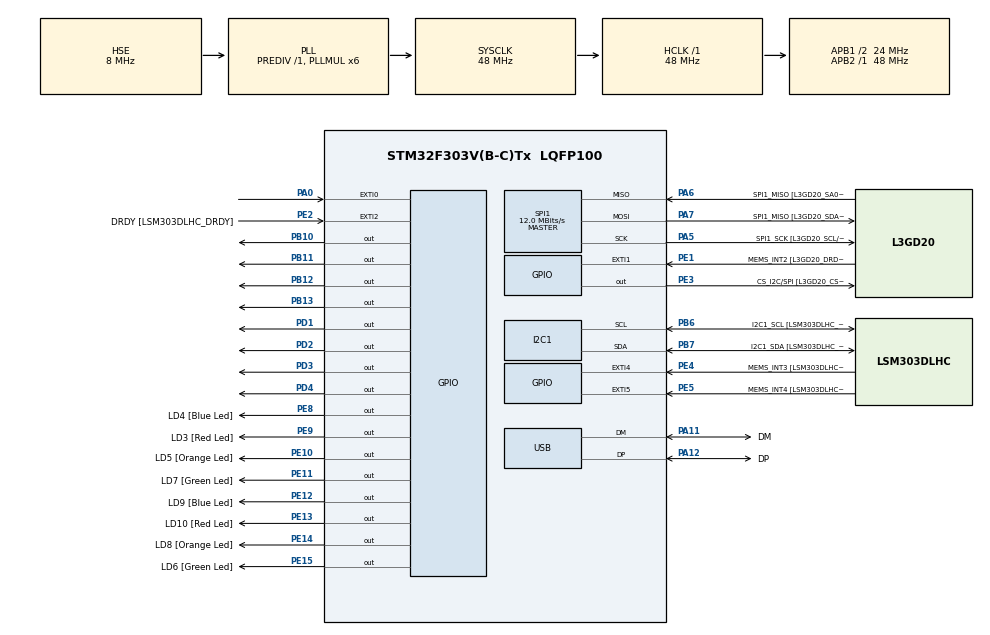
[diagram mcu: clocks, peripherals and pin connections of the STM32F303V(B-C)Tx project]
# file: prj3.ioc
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I2C1.Timing=0x2000090E
I2C1.Timing-I2C=0x2000090E
Mcu.Family=STM32F3
Mcu.Name=STM32F303V(B-C)Tx
Mcu.Package=LQFP100
NVIC.EXTI0_IRQn=true\:0\:0\:false\:false\:true\:true\:true\:true
NVIC.PriorityGroup=NVIC_PRIORITYGROUP_0
PA0.GPIO_ModeDefaultEXTI=GPIO_MODE_IT_RISING_FALLING
PA0.Signal=GPXTI0
PA11.GPIO_Label=DM
PA11.Mode=Device
PA11.Signal=USB_DM
PA12.GPIO_Label=DP
PA12.Mode=Device
PA12.Signal=USB_DP
PA13.GPIO_Label=SWDIO
PA13.Mode=Serial_Wire
PA13.Signal=SYS_JTMS-SWDIO
PA14.GPIO_Label=SWCLK
PA14.Mode=Serial_Wire
PA14.Signal=SYS_JTCK-SWCLK
PA5.GPIO_Label=SPI1_SCK [L3GD20_SCL/SPC]
PA5.Mode=Full_Duplex_Master
PA5.Signal=SPI1_SCK
PA6.GPIO_Label=SPI1_MISO [L3GD20_SA0/SDO]
PA6.Mode=Full_Duplex_Master
PA6.Signal=SPI1_MISO
PA7.GPIO_Label=SPI1_MISO [L3GD20_SDA/SDI/SDO]
PA7.Mode=Full_Duplex_Master
PA7.Signal=SPI1_MOSI
PB10.Signal=GPIO_Output
PB11.Signal=GPIO_Output
PB12.Signal=GPIO_Output
PB13.Signal=GPIO_Output
PB3.GPIO_Label=SWO
PB3.Signal=SYS_JTDO-TRACESWO
PB6.GPIO_Label=I2C1_SCL [LSM303DLHC_SCL]
PB6.GPIO_Pu=GPIO_PULLUP
PB6.Mode=I2C
PB6.Signal=I2C1_SCL
PB7.GPIO_Label=I2C1_SDA [LSM303DLHC_SDA]
PB7.GPIO_Pu=GPIO_PULLUP
PB7.Mode=I2C
PB7.Signal=I2C1_SDA
PC14-OSC32_IN.GPIO_Label=OSC32_IN
PC14-OSC32_IN.Signal=RCC_OSC32_IN
PC15-OSC32_OUT.GPIO_Label=OSC32_OUT
PC15-OSC32_OUT.Signal=RCC_OSC32_OUT
PD1.Signal=GPIO_Output
PD2.Signal=GPIO_Output
PD3.Signal=GPIO_Output
PD4.Signal=GPIO_Output
PE1.GPIO_Label=MEMS_INT2 [L3GD20_DRDY/INT2]
PE1.GPIO_ModeDefaultEXTI=GPIO_MODE_EVT_RISING
PE1.Signal=GPXTI1
PE10.GPIO_Label=LD5 [Orange Led]
PE10.Signal=GPIO_Output
PE11.GPIO_Label=LD7 [Green Led]
PE11.Signal=GPIO_Output
PE12.GPIO_Label=LD9 [Blue Led]
PE12.Signal=GPIO_Output
PE13.GPIO_Label=LD10 [Red Led]
PE13.Signal=GPIO_Output
PE14.GPIO_Label=LD8 [Orange Led]
PE14.Signal=GPIO_Output
PE15.GPIO_Label=LD6 [Green Led]
PE15.Signal=GPIO_Output
PE2.GPIO_Label=DRDY [LSM303DLHC_DRDY]
PE2.GPIO_ModeDefaultEXTI=GPIO_MODE_EVT_RISING
PE2.Signal=GPXTI2
PE3.GPIO_Label=CS_I2C/SPI [L3GD20_CS_I2C/SPI]
PE3.Signal=GPIO_Output
PE4.GPIO_Label=MEMS_INT3 [LSM303DLHC_INT1]
PE4.GPIO_ModeDefaultEXTI=GPIO_MODE_EVT_RISING
PE4.Signal=GPXTI4
PE5.GPIO_Label=MEMS_INT4 [LSM303DLHC_INT2]
PE5.GPIO_ModeDefaultEXTI=GPIO_MODE_EVT_RISING
PE5.Signal=GPXTI5
PE8.GPIO_Label=LD4 [Blue Led]
PE8.Signal=GPIO_Output
PE9.GPIO_Label=LD3 [Red Led]
PE9.Signal=GPIO_Output
PF0-OSC_IN.GPIO_Label=OSC_IN
PF0-OSC_IN.Mode=HSE-External-Clock-Source
PF0-OSC_IN.Signal=RCC_OSC_IN
PF1-OSC_OUT.GPIO_Label=OSC_OUT
PF1-OSC_OUT.Signal=RCC_OSC_OUT
ProjectManager.HeapSize=0x200
ProjectManager.StackSize=0x400
ProjectManager.TargetToolchain=STM32CubeIDE
RCC.AHBFreq_Value=48000000
RCC.APB1CLKDivider=RCC_HCLK_DIV2
RCC.APB1Freq_Value=24000000
RCC.APB1TimFreq_Value=48000000
RCC.APB2Freq_Value=48000000
RCC.APB2TimFreq_Value=48000000
RCC.CortexFreq_Value=48000000
RCC.HCLKFreq_Value=48000000
RCC.HSE_VALUE=8000000
RCC.HSI_VALUE=8000000
RCC.LSE_VALUE=32768
RCC.PLLMUL=RCC_PLL_MUL6
RCC.SYSCLKFreq_VALUE=48000000
RCC.SYSCLKSourceVirtual=RCC_SYSCLKSOURCE_PLLCLK
RCC.USBFreq_Value=48000000
SPI1.BaudRatePrescaler=SPI_BAUDRATEPRESCALER_4
SPI1.BaudRatePrescaler-Full_Duplex_Master=SPI_BAUDRATEPRESCALER_2
SPI1.CalculateBaudRate=12.0 MBits/s
SPI1.CalculateBaudRate-Full_Duplex_Master=24.0 MBits/s
SPI1.Direction=SPI_DIRECTION_2LINES
SPI1.Mode=SPI_MODE_MASTER
SPI1.Mode-Full_Duplex_Master=SPI_MODE_MASTER
SPI1.VirtualType=VM_MASTER
board=STM32F3DISCOVERY

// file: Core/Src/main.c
/* USER CODE BEGIN Header */
/**
  ******************************************************************************
  * @file           : main.c
  * @brief          : Main program body
  ******************************************************************************
  * @attention
  *
  * Copyright (c) 2024 STMicroelectronics.
  * All rights reserved.
  *
  * This software is licensed under terms that can be found in the LICENSE file
  * in the root directory of this software component.
  * If no LICENSE file comes with this software, it is provided AS-IS.
  *
  ******************************************************************************
  */
/* USER CODE END Header */
#include "main.h"

/* USER CODE BEGIN PD */
#define n 6
#define DEBOUNCE_TIME 100
#define LONG_PRESS 3000
/* USER CODE END PD */

I2C_HandleTypeDef hi2c1;

SPI_HandleTypeDef hspi1;

PCD_HandleTypeDef hpcd_USB_FS;

void SystemClock_Config(void);
static void MX_GPIO_Init(void);
static void MX_I2C1_Init(void);
static void MX_SPI1_Init(void);
static void MX_USB_PCD_Init(void);

/* USER CODE BEGIN 0 */

char number[n];
char digit[4];
char str[n+7];
int temp;
int temp_token;
int timer_token;
int limit_token = 200;
int shift_level = 1;
int pause = 0;

void HAL_GPIO_EXTI_Callback(uint16_t GPIO_Pin){
	if(GPIO_Pin == GPIO_PIN_0){ // pin 0 triggered
		static uint32_t last_enter_time = 0;
		if (HAL_GPIO_ReadPin(GPIOA, GPIO_PIN_0)){ // rising edge
			if (HAL_GetTick() - last_enter_time < DEBOUNCE_TIME){
				return;
			}
			else{
				last_enter_time = HAL_GetTick();
			}
		}
		else{ // falling edge
			if (HAL_GetTick() - last_enter_time < DEBOUNCE_TIME){// debounce
				return;
			}
			if (HAL_GetTick() - last_enter_time > LONG_PRESS){//long press
				last_enter_time = HAL_GetTick();
				pause = 1 - pause;
			}
			else { //short press
				last_enter_time = HAL_GetTick();
				shift_level++;
				if (shift_level > 5){
					shift_level = 1;
				}
			}
		}

	}
}

void active_digits (){
	if (temp == 0){
		if (digit[0] != 'x'){
			HAL_GPIO_WritePin(GPIOD, GPIO_PIN_1, GPIO_PIN_RESET);
			HAL_GPIO_WritePin(GPIOD, GPIO_PIN_2, GPIO_PIN_SET);
			HAL_GPIO_WritePin(GPIOD, GPIO_PIN_3, GPIO_PIN_SET);
			HAL_GPIO_WritePin(GPIOD, GPIO_PIN_4, GPIO_PIN_SET);
		}
		else{
			HAL_GPIO_WritePin(GPIOD, GPIO_PIN_1, GPIO_PIN_SET);
			HAL_GPIO_WritePin(GPIOD, GPIO_PIN_2, GPIO_PIN_SET);
			HAL_GPIO_WritePin(GPIOD, GPIO_PIN_3, GPIO_PIN_SET);
			HAL_GPIO_WritePin(GPIOD, GPIO_PIN_4, GPIO_PIN_SET);
		}
		shownumber(digit[0]);
		temp = 1;
	}else if (temp == 1){
		if (digit[1] != 'x'){
			HAL_GPIO_WritePin(GPIOD, GPIO_PIN_1, GPIO_PIN_SET);
			HAL_GPIO_WritePin(GPIOD, GPIO_PIN_2, GPIO_PIN_RESET);
			HAL_GPIO_WritePin(GPIOD, GPIO_PIN_3, GPIO_PIN_SET);
			HAL_GPIO_WritePin(GPIOD, GPIO_PIN_4, GPIO_PIN_SET);
		}
		else{
			HAL_GPIO_WritePin(GPIOD, GPIO_PIN_1, GPIO_PIN_SET);
			HAL_GPIO_WritePin(GPIOD, GPIO_PIN_2, GPIO_PIN_SET);
			HAL_GPIO_WritePin(GPIOD, GPIO_PIN_3, GPIO_PIN_SET);
			HAL_GPIO_WritePin(GPIOD, GPIO_PIN_4, GPIO_PIN_SET);
		}
		shownumber(digit[1]);
		temp=2;
	}else if (temp == 2){
		if (digit[2] != 'x'){
			HAL_GPIO_WritePin(GPIOD, GPIO_PIN_1, GPIO_PIN_SET);
			HAL_GPIO_WritePin(GPIOD, GPIO_PIN_2, GPIO_PIN_SET);
			HAL_GPIO_WritePin(GPIOD, GPIO_PIN_3, GPIO_PIN_RESET);
			HAL_GPIO_WritePin(GPIOD, GPIO_PIN_4, GPIO_PIN_SET);
		}
		else{
			HAL_GPIO_WritePin(GPIOD, GPIO_PIN_1, GPIO_PIN_SET);
			HAL_GPIO_WritePin(GPIOD, GPIO_PIN_2, GPIO_PIN_SET);
			HAL_GPIO_WritePin(GPIOD, GPIO_PIN_3, GPIO_PIN_SET);
			HAL_GPIO_WritePin(GPIOD, GPIO_PIN_4, GPIO_PIN_SET);
		}
		shownumber(digit[2]);
		temp=3;
	}else {
		if (digit[3]!='x'){
			HAL_GPIO_WritePin(GPIOD, GPIO_PIN_1, GPIO_PIN_SET);
			HAL_GPIO_WritePin(GPIOD, GPIO_PIN_2, GPIO_PIN_SET);
			HAL_GPIO_WritePin(GPIOD, GPIO_PIN_3, GPIO_PIN_SET);
			HAL_GPIO_WritePin(GPIOD, GPIO_PIN_4, GPIO_PIN_RESET);
		}
		else{
			HAL_GPIO_WritePin(GPIOD, GPIO_PIN_1, GPIO_PIN_SET);
			HAL_GPIO_WritePin(GPIOD, GPIO_PIN_2, GPIO_PIN_SET);
			HAL_GPIO_WritePin(GPIOD, GPIO_PIN_3, GPIO_PIN_SET);
			HAL_GPIO_WritePin(GPIOD, GPIO_PIN_4, GPIO_PIN_SET);
		}
		shownumber(digit[3]);
		temp = 0;
	}
	HAL_Delay(5);
}
void shownumber (char ch){
	//B10 - 8 D
	//B11 - 4 C
	//B12 - 2 B
	//B13 - 1 A
	if (ch == 'x'){
		return;
	}
	else{
		int t = (ch - '0');
		HAL_GPIO_WritePin(GPIOB, GPIO_PIN_13, t%2);//1
		t/=2;
		HAL_GPIO_WritePin(GPIOB, GPIO_PIN_12, t%2);//2
		t/=2;
		HAL_GPIO_WritePin(GPIOB, GPIO_PIN_11, t%2);//4
		t/=2;
		HAL_GPIO_WritePin(GPIOB, GPIO_PIN_10, t%2);//8
	}

}
void number_to_string(){
	str[0] = 'x';
	str[1] = 'x';
	str[2] = 'x';
	for (int i=0;i<n;i++){
		str[i+3] = number[i];
	}
	str[n+3] = 'x';
	str[n+4] = 'x';
	str[n+5] = 'x';
	str[n+6] = 'x';
}
void tokenize(){
	//temp_token = HAL_GetTick();
	if (pause){
		return;
	}
	if (HAL_GetTick() - timer_token < limit_token*shift_level){
		return;
	}
	else{
		timer_token = HAL_GetTick();
		temp_token++;
		temp_token %= (n+3);
	}
	digit[0] = str[temp_token];
	digit[1] = str[temp_token+1];
	digit[2] = str[temp_token+2];
	digit[3] = str[temp_token+3];
}
void generate_random_number(){
	for (int i = 0 ; i < n ; i++){
		int value  = rand()%10;
		number[i] = (value + '0');
	}
}
/* USER CODE END 0 */

int main(void)
{

  /* MCU Configuration--------------------------------------------------------*/

  /* Reset of all peripherals, Initializes the Flash interface and the Systick. */
  HAL_Init();

  /* Configure the system clock */
  SystemClock_Config();

  /* Initialize all configured peripherals */
  MX_GPIO_Init();
  MX_I2C1_Init();
  MX_SPI1_Init();
  MX_USB_PCD_Init();
  /* USER CODE BEGIN 2 */
  srand(HAL_GetTick());
  generate_random_number();
  number_to_string();
  /* USER CODE END 2 */

  /* Infinite loop */
  while (1)
  {

    /* USER CODE BEGIN 3 */
	  tokenize();
	  active_digits();
  }
  /* USER CODE END 3 */
}

void SystemClock_Config(void)
{
  RCC_OscInitTypeDef RCC_OscInitStruct = {0};
  RCC_ClkInitTypeDef RCC_ClkInitStruct = {0};
  RCC_PeriphCLKInitTypeDef PeriphClkInit = {0};

  /** Initializes the RCC Oscillators according to the specified parameters
  * in the RCC_OscInitTypeDef structure.
  */
  RCC_OscInitStruct.OscillatorType = RCC_OSCILLATORTYPE_HSI|RCC_OSCILLATORTYPE_HSE;
  RCC_OscInitStruct.HSEState = RCC_HSE_BYPASS;
  RCC_OscInitStruct.HSEPredivValue = RCC_HSE_PREDIV_DIV1;
  RCC_OscInitStruct.HSIState = RCC_HSI_ON;
  RCC_OscInitStruct.HSICalibrationValue = RCC_HSICALIBRATION_DEFAULT;
  RCC_OscInitStruct.PLL.PLLState = RCC_PLL_ON;
  RCC_OscInitStruct.PLL.PLLSource = RCC_PLLSOURCE_HSE;
  RCC_OscInitStruct.PLL.PLLMUL = RCC_PLL_MUL6;
  if (HAL_RCC_OscConfig(&RCC_OscInitStruct) != HAL_OK)
  {
    Error_Handler();
  }

  /** Initializes the CPU, AHB and APB buses clocks
  */
  RCC_ClkInitStruct.ClockType = RCC_CLOCKTYPE_HCLK|RCC_CLOCKTYPE_SYSCLK
                              |RCC_CLOCKTYPE_PCLK1|RCC_CLOCKTYPE_PCLK2;
  RCC_ClkInitStruct.SYSCLKSource = RCC_SYSCLKSOURCE_PLLCLK;
  RCC_ClkInitStruct.AHBCLKDivider = RCC_SYSCLK_DIV1;
  RCC_ClkInitStruct.APB1CLKDivider = RCC_HCLK_DIV2;
  RCC_ClkInitStruct.APB2CLKDivider = RCC_HCLK_DIV1;

  if (HAL_RCC_ClockConfig(&RCC_ClkInitStruct, FLASH_LATENCY_1) != HAL_OK)
  {
    Error_Handler();
  }
  PeriphClkInit.PeriphClockSelection = RCC_PERIPHCLK_USB|RCC_PERIPHCLK_I2C1;
  PeriphClkInit.I2c1ClockSelection = RCC_I2C1CLKSOURCE_HSI;
  PeriphClkInit.USBClockSelection = RCC_USBCLKSOURCE_PLL;
  if (HAL_RCCEx_PeriphCLKConfig(&PeriphClkInit) != HAL_OK)
  {
    Error_Handler();
  }
}

static void MX_I2C1_Init(void)
{

  hi2c1.Instance = I2C1;
  hi2c1.Init.Timing = 0x2000090E;
  hi2c1.Init.OwnAddress1 = 0;
  hi2c1.Init.AddressingMode = I2C_ADDRESSINGMODE_7BIT;
  hi2c1.Init.DualAddressMode = I2C_DUALADDRESS_DISABLE;
  hi2c1.Init.OwnAddress2 = 0;
  hi2c1.Init.OwnAddress2Masks = I2C_OA2_NOMASK;
  hi2c1.Init.GeneralCallMode = I2C_GENERALCALL_DISABLE;
  hi2c1.Init.NoStretchMode = I2C_NOSTRETCH_DISABLE;
  if (HAL_I2C_Init(&hi2c1) != HAL_OK)
  {
    Error_Handler();
  }

  /** Configure Analogue filter
  */
  if (HAL_I2CEx_ConfigAnalogFilter(&hi2c1, I2C_ANALOGFILTER_ENABLE) != HAL_OK)
  {
    Error_Handler();
  }

  /** Configure Digital filter
  */
  if (HAL_I2CEx_ConfigDigitalFilter(&hi2c1, 0) != HAL_OK)
  {
    Error_Handler();
  }

}

static void MX_SPI1_Init(void)
{

  /* SPI1 parameter configuration*/
  hspi1.Instance = SPI1;
  hspi1.Init.Mode = SPI_MODE_MASTER;
  hspi1.Init.Direction = SPI_DIRECTION_2LINES;
  hspi1.Init.DataSize = SPI_DATASIZE_4BIT;
  hspi1.Init.CLKPolarity = SPI_POLARITY_LOW;
  hspi1.Init.CLKPhase = SPI_PHASE_1EDGE;
  hspi1.Init.NSS = SPI_NSS_SOFT;
  hspi1.Init.BaudRatePrescaler = SPI_BAUDRATEPRESCALER_4;
  hspi1.Init.FirstBit = SPI_FIRSTBIT_MSB;
  hspi1.Init.TIMode = SPI_TIMODE_DISABLE;
  hspi1.Init.CRCCalculation = SPI_CRCCALCULATION_DISABLE;
  hspi1.Init.CRCPolynomial = 7;
  hspi1.Init.CRCLength = SPI_CRC_LENGTH_DATASIZE;
  hspi1.Init.NSSPMode = SPI_NSS_PULSE_ENABLE;
  if (HAL_SPI_Init(&hspi1) != HAL_OK)
  {
    Error_Handler();
  }

}

static void MX_USB_PCD_Init(void)
{

  hpcd_USB_FS.Instance = USB;
  hpcd_USB_FS.Init.dev_endpoints = 8;
  hpcd_USB_FS.Init.speed = PCD_SPEED_FULL;
  hpcd_USB_FS.Init.phy_itface = PCD_PHY_EMBEDDED;
  hpcd_USB_FS.Init.low_power_enable = DISABLE;
  hpcd_USB_FS.Init.battery_charging_enable = DISABLE;
  if (HAL_PCD_Init(&hpcd_USB_FS) != HAL_OK)
  {
    Error_Handler();
  }

}

static void MX_GPIO_Init(void)
{
  GPIO_InitTypeDef GPIO_InitStruct = {0};

  /* GPIO Ports Clock Enable */
  __HAL_RCC_GPIOE_CLK_ENABLE();
  __HAL_RCC_GPIOC_CLK_ENABLE();
  __HAL_RCC_GPIOF_CLK_ENABLE();
  __HAL_RCC_GPIOA_CLK_ENABLE();
  __HAL_RCC_GPIOB_CLK_ENABLE();
  __HAL_RCC_GPIOD_CLK_ENABLE();

  /*Configure GPIO pin Output Level */
  HAL_GPIO_WritePin(GPIOE, CS_I2C_SPI_Pin|LD4_Pin|LD3_Pin|LD5_Pin
                          |LD7_Pin|LD9_Pin|LD10_Pin|LD8_Pin
                          |LD6_Pin, GPIO_PIN_RESET);

  /*Configure GPIO pin Output Level */
  HAL_GPIO_WritePin(GPIOB, GPIO_PIN_10|GPIO_PIN_11|GPIO_PIN_12|GPIO_PIN_13, GPIO_PIN_RESET);

  /*Configure GPIO pin Output Level */
  HAL_GPIO_WritePin(GPIOD, GPIO_PIN_1|GPIO_PIN_2|GPIO_PIN_3|GPIO_PIN_4, GPIO_PIN_RESET);

  /*Configure GPIO pins : DRDY_Pin MEMS_INT3_Pin MEMS_INT4_Pin MEMS_INT2_Pin */
  GPIO_InitStruct.Pin = DRDY_Pin|MEMS_INT3_Pin|MEMS_INT4_Pin|MEMS_INT2_Pin;
  GPIO_InitStruct.Mode = GPIO_MODE_EVT_RISING;
  GPIO_InitStruct.Pull = GPIO_NOPULL;
  HAL_GPIO_Init(GPIOE, &GPIO_InitStruct);

  /*Configure GPIO pins : CS_I2C_SPI_Pin LD4_Pin LD3_Pin LD5_Pin
                           LD7_Pin LD9_Pin LD10_Pin LD8_Pin
                           LD6_Pin */
  GPIO_InitStruct.Pin = CS_I2C_SPI_Pin|LD4_Pin|LD3_Pin|LD5_Pin
                          |LD7_Pin|LD9_Pin|LD10_Pin|LD8_Pin
                          |LD6_Pin;
  GPIO_InitStruct.Mode = GPIO_MODE_OUTPUT_PP;
  GPIO_InitStruct.Pull = GPIO_NOPULL;
  GPIO_InitStruct.Speed = GPIO_SPEED_FREQ_LOW;
  HAL_GPIO_Init(GPIOE, &GPIO_InitStruct);

  /*Configure GPIO pin : PA0 */
  GPIO_InitStruct.Pin = GPIO_PIN_0;
  GPIO_InitStruct.Mode = GPIO_MODE_IT_RISING_FALLING;
  GPIO_InitStruct.Pull = GPIO_NOPULL;
  HAL_GPIO_Init(GPIOA, &GPIO_InitStruct);

  /*Configure GPIO pins : PB10 PB11 PB12 PB13 */
  GPIO_InitStruct.Pin = GPIO_PIN_10|GPIO_PIN_11|GPIO_PIN_12|GPIO_PIN_13;
  GPIO_InitStruct.Mode = GPIO_MODE_OUTPUT_PP;
  GPIO_InitStruct.Pull = GPIO_NOPULL;
  GPIO_InitStruct.Speed = GPIO_SPEED_FREQ_LOW;
  HAL_GPIO_Init(GPIOB, &GPIO_InitStruct);

  /*Configure GPIO pins : PD1 PD2 PD3 PD4 */
  GPIO_InitStruct.Pin = GPIO_PIN_1|GPIO_PIN_2|GPIO_PIN_3|GPIO_PIN_4;
  GPIO_InitStruct.Mode = GPIO_MODE_OUTPUT_PP;
  GPIO_InitStruct.Pull = GPIO_NOPULL;
  GPIO_InitStruct.Speed = GPIO_SPEED_FREQ_LOW;
  HAL_GPIO_Init(GPIOD, &GPIO_InitStruct);

  /* EXTI interrupt init*/
  HAL_NVIC_SetPriority(EXTI0_IRQn, 0, 0);
  HAL_NVIC_EnableIRQ(EXTI0_IRQn);

}

void Error_Handler(void)
{
  __disable_irq();
  while (1)
  {
  }
}
